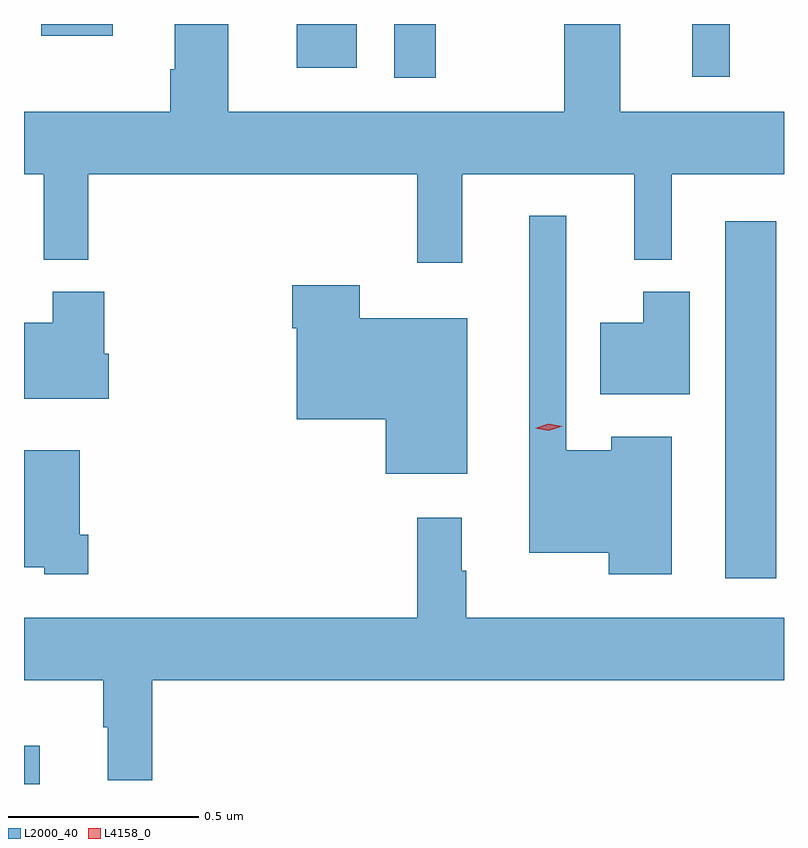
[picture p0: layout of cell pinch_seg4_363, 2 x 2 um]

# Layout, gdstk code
import gdstk
lib = gdstk.Library(unit=1e-6, precision=1e-09)
def R(c, l, rs):  # rectangles x0, y0, x1, y1
    for r in rs: c.add(gdstk.rectangle(r[:2], r[2:], *l))
def P(c, l, *ps):  # polygons
    for p in ps: c.add(gdstk.Polygon(p, *l))
L2000_40 = (2000, 40)
L4158_0 = (4158, 0)

pinch_seg4_363 = lib.new_cell('pinch_seg4_363')
R(pinch_seg4_363, L2000_40, [(994.018,791.219,994.06,791.32), (995.864,791.76,995.998,792.7), (994.992,793.077,995.101,793.219), (995.777,793.08,995.875,793.219), (994.736,793.104,994.894,793.219), (994.063,793.188,994.252,793.219)])
P(pinch_seg4_363, L2000_40, [(995.171,792.824),(995.624,792.824),(995.624,792.599),(995.722,792.599),(995.722,792.824),(996.018,792.824),(996.018,792.988),(995.587,792.988),(995.587,793.219),(995.44,793.219),(995.44,792.988),(994.555,792.988),(994.555,793.219),(994.415,793.219),(994.415,793.1),(994.403,793.1),(994.403,792.988),(994.018,792.988),(994.018,792.824),(994.07,792.824),(994.07,792.599),(994.187,792.599),(994.187,792.824),(995.053,792.824),(995.053,792.591),(995.171,792.591)],
  [(995.722,792.133),(995.564,792.133),(995.564,792.097),(995.445,792.097),(995.445,792.715),(995.348,792.715),(995.348,791.828),(995.557,791.828),(995.557,791.771),(995.722,791.771)],
  [(995.185,792.445),(994.902,792.445),(994.902,792.532),(994.724,792.532),(994.724,792.419),(994.736,792.419),(994.736,792.179),(994.97,792.179),(994.97,792.035),(995.185,792.035)],
  [(994.241,792.351),(994.229,792.351),(994.229,792.514),(994.094,792.514),(994.094,792.433),(994.018,792.433),(994.018,792.233),(994.241,792.233)],
  [(995.77,792.514),(995.648,792.514),(995.648,792.433),(995.534,792.433),(995.534,792.245),(995.77,792.245)],
  [(994.187,791.875),(994.165,791.875),(994.165,792.097),(994.018,792.097),(994.018,791.789),(994.071,791.789),(994.071,791.771),(994.187,791.771)],
  [(994.355,791.492),(996.018,791.492),(996.018,791.656),(995.182,791.656),(995.182,791.78),(995.17,791.78),(995.17,791.92),(995.053,791.92),(995.053,791.656),(994.018,791.656),(994.018,791.492),(994.227,791.492),(994.227,791.369),(994.238,791.369),(994.238,791.229),(994.355,791.229)])
P(pinch_seg4_363, L4158_0, [(995.399,792.148),(995.363,792.155),(995.363,792.155),(995.363,792.155),(995.398,792.167),(995.434,792.16),(995.434,792.16),(995.434,792.16)])

lib.write_gds('pinch_seg4_363.gds')
